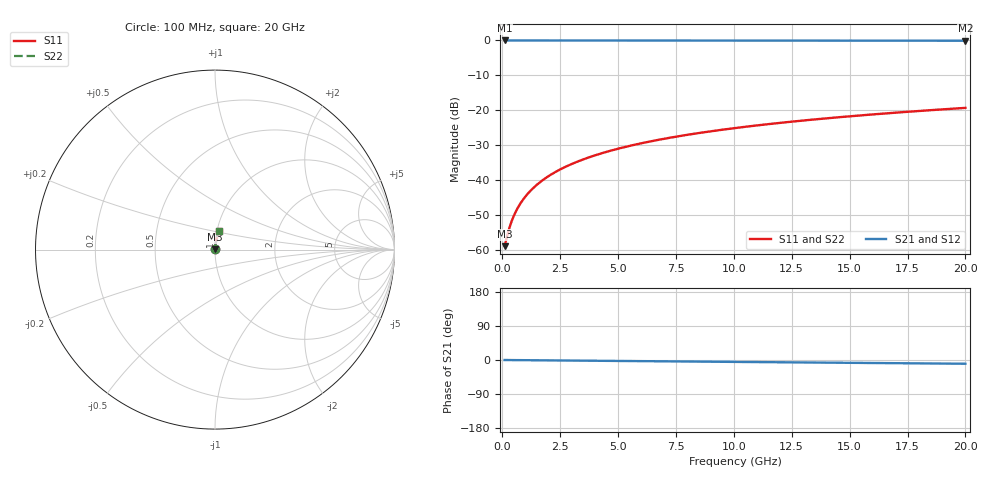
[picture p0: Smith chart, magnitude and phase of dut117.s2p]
! Touchstone file exported from HFSS 2026.1.0
!  File:  C:/ffzhzh/LocalFiles/Ansys_Project_Files/temp_train_TMRDL_117_1782982544_45328.aedt
!  Generated:  04:56:53 PM Jul  2, 2026
!  Design:  TMRDL
!  Project:  temp_train_TMRDL_117_1782982544_45328
! Variables:
!  h_bsmrdl = 2um
!  h_ox = 20um
!  h_rdl = 5um
!  h_sub = 80um
!  h_tmrdl = 4.37um
!  h_tsv = 80um
!  h_via = 3um
!  l_bsmrdl = 300um
!  l_sub = 516.55um
!  l_tmrdl = 116.55um
!  m_sub = 200um
!  pitch = 32.01um
!  r_tsv = 6um
!  s_tmrdl = 10um
!  w_bsmrdl = 18um
!  w_sub = 500um
!  w_tmrdl = 11.14um
!  x_tsv_center1 = 122.12um
!  x_tsv_center2 = 440.12um
!  x_tsv_center3 = 567.81um
!  x_tsv_center4 = 885.81um
!  x_tsv_center5 = 1013.5um
!  x_tsv_center6 = 1331.5um
# GHz S MA R 50.000000
! Terminal data exported
! Port[1] = TM_RDL1_1_T1
! Port[2] = TM_RDL1_1_T2
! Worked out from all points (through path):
!   200 points, 100 MHz to 20 GHz, reference 50 ohm
!   highest |S21| = -0.01 dB at 100 MHz (marker M1); lowest = -0.1 dB at 20 GHz (marker M2)
!   group delay of S21, straight-line fit = 1.37 ps
!   lowest |S11| = -58.8 dB at 100 MHz (marker M3), VSWR 1.00, Z = 50.1 + j0.0604 ohm
!   |S11| at or under -10 dB: start of sweep to end of sweep
!   |S22| runs from -58.8 to -19.3 dB; largest |S21 - S12| = 3.5e-15
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0.1  0.001148 31.7  0.999 -0.1  0.999 -0.1  0.001148 31.7
! Gamma 0 0 0 0
! Port Impedance 50 0 50 0
0.2  0.001559 50.3  0.999 -0.1  0.999 -0.1  0.001559 50.3
0.3  0.002057 60.2  0.999 -0.2  0.999 -0.2  0.002057 60.2
0.4  0.002585 66.1  0.999 -0.2  0.999 -0.2  0.002585 66.1
0.5  0.003125 69.9  0.9989 -0.3  0.9989 -0.3  0.003125 69.9
0.6  0.003671 72.6  0.9989 -0.3  0.9989 -0.3  0.003671 72.6
0.8  0.004775 76.2  0.9989 -0.4  0.9989 -0.4  0.004775 76.2
1.1  0.006448 79.3  0.9988 -0.6  0.9988 -0.6  0.006448 79.3
1.3  0.00757 80.5  0.9988 -0.7  0.9988 -0.7  0.00757 80.5
1.6  0.00926 81.8  0.9988 -0.8  0.9988 -0.8  0.00926 81.8
2.1  0.01208 83.0  0.9987 -1.1  0.9987 -1.1  0.01208 83.0
2.7  0.01547 83.7  0.9986 -1.4  0.9986 -1.4  0.01547 83.7
3.5  0.01997 84.1  0.9984 -1.8  0.9984 -1.8  0.01997 84.1
4.2  0.02389 84.1  0.9982 -2.1  0.9982 -2.1  0.02389 84.1
5  0.02835 84.0  0.9979 -2.5  0.9979 -2.5  0.02835 84.0
5.9  0.03333 83.8  0.9976 -3.0  0.9976 -3.0  0.03333 83.8
6.8  0.03828 83.5  0.9972 -3.4  0.9972 -3.4  0.03828 83.5
8.3  0.04646 83.0  0.9966 -4.2  0.9966 -4.2  0.04646 83.0
10.1  0.0562 82.3  0.9958 -5.1  0.9958 -5.1  0.0562 82.3
13.4  0.07386 80.9  0.9942 -6.7  0.9942 -6.7  0.07386 80.9
16.7  0.09133 79.5  0.9923 -8.3  0.9923 -8.3  0.09133 79.5
20  0.1086 78.1  0.9902 -9.9  0.9902 -9.9  0.1086 78.1
